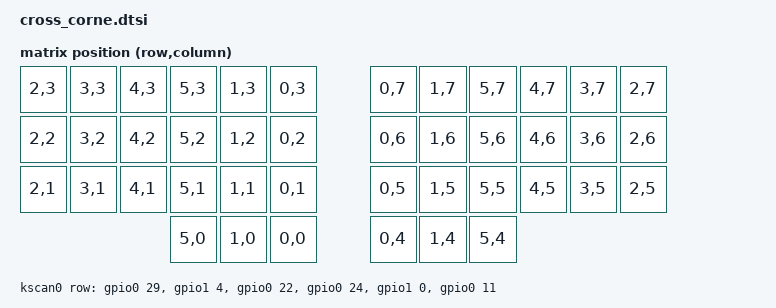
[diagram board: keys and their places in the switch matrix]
/*
 * Copyright (c) 2020 ZMK Contributors
 *
 * SPDX-License-Identifier: MIT
 */

#include <dt-bindings/zmk/matrix_transform.h>
#include <dt-bindings/led/led.h>

/ {
    chosen {
        zmk,kscan = &kscan0;
        zmk,matrix_transform = &default_transform;
    };

    default_transform: keymap_transform_0 {
        compatible = "zmk,matrix-transform";
        columns = <8>;
        rows = <6>;

        /*
         * Transposed matrix: physical keyboard columns = firmware rows,
         *                    physical keyboard rows    = firmware cols
         *
         * Firmware rows (= physical columns, inner→outer):
         *   r0=gpio0 29  r1=gpio1 4  r2=gpio0 22  r3=gpio0 24  r4=gpio1 0  r5=gpio0 11
         * Physical col order L→R on keyboard: r0, r1, r5, r4, r3, r2
         *
         * Firmware cols (= physical rows, top→thumb):
         *   Left side (global cols 0-3):  c3=top  c2=mid  c1=bot  c0=thumb
         *   Right side (global cols 4-7): c7=top  c6=mid  c5=bot  c4=thumb
         */
        map = <
            RC(2,3) RC(3,3) RC(4,3) RC(5,3) RC(1,3) RC(0,3)    RC(0,7) RC(1,7) RC(5,7) RC(4,7) RC(3,7) RC(2,7)
            RC(2,2) RC(3,2) RC(4,2) RC(5,2) RC(1,2) RC(0,2)    RC(0,6) RC(1,6) RC(5,6) RC(4,6) RC(3,6) RC(2,6)
            RC(2,1) RC(3,1) RC(4,1) RC(5,1) RC(1,1) RC(0,1)    RC(0,5) RC(1,5) RC(5,5) RC(4,5) RC(3,5) RC(2,5)
                                             RC(5,0) RC(1,0) RC(0,0)    RC(0,4) RC(1,4) RC(5,4)
        >;
    };

    kscan0: kscan {
        compatible = "zmk,kscan-gpio-matrix";

        diode-direction = "row2col";
        row-gpios
            = <&gpio0 29 GPIO_ACTIVE_HIGH>
            , <&gpio1 4  GPIO_ACTIVE_HIGH>
            , <&gpio0 22 GPIO_ACTIVE_HIGH>
            , <&gpio0 24 GPIO_ACTIVE_HIGH>
            , <&gpio1 0  GPIO_ACTIVE_HIGH>
            , <&gpio0 11 GPIO_ACTIVE_HIGH>
            ;
    };
};
